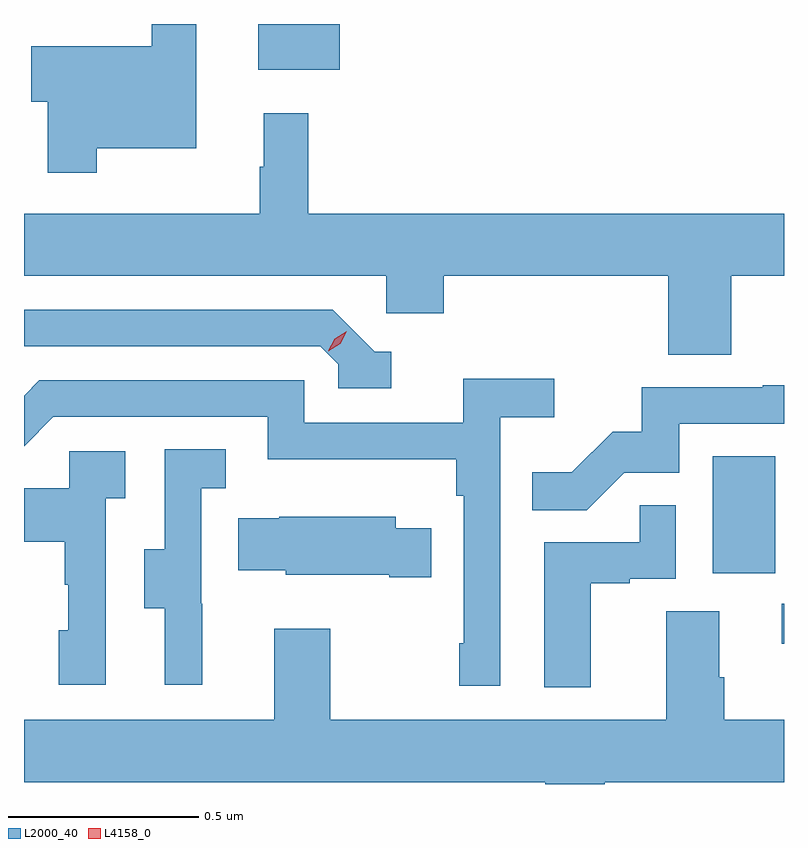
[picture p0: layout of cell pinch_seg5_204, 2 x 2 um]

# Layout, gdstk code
import gdstk
lib = gdstk.Library(unit=1e-6, precision=1e-09)
def R(c, l, rs):  # rectangles x0, y0, x1, y1
    for r in rs: c.add(gdstk.rectangle(r[:2], r[2:], *l))
def P(c, l, *ps):  # polygons
    for p in ps: c.add(gdstk.Polygon(p, *l))
L2000_40 = (2000, 40)
L4158_0 = (4158, 0)

pinch_seg5_204 = lib.new_cell('pinch_seg5_204')
R(pinch_seg5_204, L2000_40, [(1000.263,913.068,1000.269,913.173), (1000.082,913.254,1000.246,913.561), (998.885,914.579,999.1,914.699)])
P(pinch_seg5_204, L2000_40, [(998.461,914.372),(998.722,914.372),(998.722,914.699),(998.605,914.699),(998.605,914.641),(998.288,914.641),(998.288,914.494),(998.332,914.494),(998.332,914.307),(998.461,914.307)],
  [(1000.13,914.036),(1000.269,914.036),(1000.269,914.2),(999.017,914.2),(999.017,914.464),(998.9,914.464),(998.9,914.324),(998.889,914.324),(998.889,914.2),(998.269,914.2),(998.269,914.036),(999.222,914.036),(999.222,913.938),(999.374,913.938),(999.374,914.036),(999.965,914.036),(999.965,913.828),(1000.13,913.828)],
  [(999.235,913.836),(999.192,913.836),(999.081,913.947),(998.269,913.947),(998.269,913.851),(999.048,913.851),(999.096,913.803),(999.096,913.74),(999.235,913.74)],
  [(999.522,913.664),(999.664,913.664),(999.664,913.766),(999.425,913.766),(999.425,913.65),(999.006,913.65),(999.006,913.761),(998.309,913.761),(998.269,913.721),(998.269,913.588),(998.346,913.665),(998.91,913.665),(998.91,913.553),(999.406,913.553),(999.406,913.457),(999.426,913.457),(999.426,913.069),(999.414,913.069),(999.414,912.957),(999.522,912.957)],
  [(999.848,913.518),(999.993,913.518),(999.993,913.647),(1000.269,913.647),(1000.269,913.748),(1000.213,913.748),(1000.213,913.743),(999.895,913.743),(999.895,913.626),(999.818,913.626),(999.711,913.519),(999.607,913.519),(999.607,913.42),(999.75,913.42)],
  [(998.738,913.173),(998.736,913.173),(998.736,913.477),(998.8,913.477),(998.8,913.58),(998.64,913.58),(998.64,913.317),(998.585,913.317),(998.585,913.162),(998.639,913.162),(998.639,912.96),(998.738,912.96)],
  [(998.484,913.451),(998.536,913.451),(998.536,913.575),(998.388,913.575),(998.388,913.477),(998.269,913.477),(998.269,913.337),(998.376,913.337),(998.376,913.223),(998.386,913.223),(998.386,913.104),(998.36,913.104),(998.36,912.96),(998.484,912.96)],
  [(999.76,913.227),(999.863,913.227),(999.863,913.239),(999.984,913.239),(999.984,913.433),(999.889,913.433),(999.889,913.335),(999.638,913.335),(999.638,912.953),(999.76,912.953)],
  [(999.341,913.372),(999.247,913.372),(999.247,913.402),(998.941,913.402),(998.941,913.399),(998.833,913.399),(998.833,913.262),(998.958,913.262),(998.958,913.25),(999.23,913.25),(999.23,913.243),(999.341,913.243)],
  [(999.797,912.704),(1000.269,912.704),(1000.269,912.868),(1000.112,912.868),(1000.112,912.98),(1000.099,912.98),(1000.099,913.154),(999.959,913.154),(999.959,912.868),(999.075,912.868),(999.075,913.108),(998.927,913.108),(998.927,912.868),(998.269,912.868),(998.269,912.704),(999.641,912.704),(999.641,912.699),(999.797,912.699)])
P(pinch_seg5_204, L4158_0, [(999.07,913.838),(999.07,913.839),(999.087,913.871),(999.118,913.89),(999.118,913.89),(999.118,913.89),(999.101,913.858),(999.07,913.838)])

lib.write_gds('pinch_seg5_204.gds')
